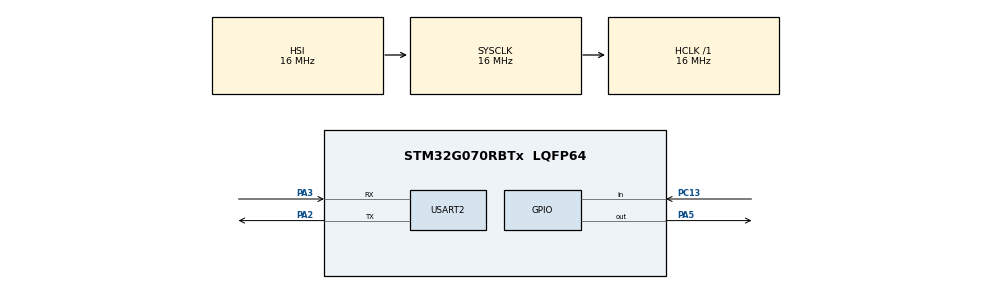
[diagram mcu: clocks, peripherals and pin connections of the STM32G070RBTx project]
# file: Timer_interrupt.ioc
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Mcu.Family=STM32G0
Mcu.Name=STM32G070RBTx
Mcu.Package=LQFP64
NVIC.TIM3_IRQn=true\:3\:0\:false\:false\:true\:false\:true\:true
NVIC.TimeBase=TIM3_IRQn
NVIC.TimeBaseIP=TIM3
PA13.Mode=Serial_Wire
PA13.Signal=SYS_SWDIO
PA14-BOOT0.Mode=Serial_Wire
PA14-BOOT0.Signal=SYS_SWCLK
PA2.Mode=Asynchronous
PA2.Signal=USART2_TX
PA3.Mode=Asynchronous
PA3.Signal=USART2_RX
PA5.Signal=GPIO_Output
PC13.Signal=GPIO_Input
PC14-OSC32_IN\ (PC14).Mode=LSE-External-Oscillator
PC14-OSC32_IN\ (PC14).Signal=RCC_OSC32_IN
PC15-OSC32_OUT\ (PC15).Mode=LSE-External-Oscillator
PC15-OSC32_OUT\ (PC15).Signal=RCC_OSC32_OUT
PF0-OSC_IN\ (PF0).Mode=HSE-External-Clock-Source
PF0-OSC_IN\ (PF0).Signal=RCC_OSC_IN
ProjectManager.HeapSize=0x200
ProjectManager.StackSize=0x400
ProjectManager.TargetToolchain=STM32CubeIDE
RCC.AHBFreq_Value=16000000
RCC.CortexFreq_Value=16000000
RCC.EXTERNAL_CLOCK_VALUE=12288000
RCC.HCLKFreq_Value=16000000
RCC.HSE_VALUE=8000000
RCC.HSI_VALUE=16000000
RCC.SYSCLKFreq_VALUE=16000000
RCC.VCOOutputFreq_Value=128000000
USART2.VirtualMode-Asynchronous=VM_ASYNC
VP_SYS_VS_tim3.Mode=TIM3
board=NUCLEO-G070RB

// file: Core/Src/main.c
/* USER CODE BEGIN Header */
/**
  ******************************************************************************
  * @file           : main.c
  * @brief          : Main program body
  ******************************************************************************
  * @attention
  *
  * Copyright (c) 2023 STMicroelectronics.
  * All rights reserved.
  *
  * This software is licensed under terms that can be found in the LICENSE file
  * in the root directory of this software component.
  * If no LICENSE file comes with this software, it is provided AS-IS.
  *
  ******************************************************************************
  */
/* USER CODE END Header */
#include "main.h"

/* USER CODE BEGIN Includes */
#include "FreeRTOS.h"
#include "task.h"
#include "timers.h"

/* USER CODE END Includes */

UART_HandleTypeDef huart2;

/* USER CODE BEGIN PV */
TimerHandle_t PTHandle, OTHandle;

TaskHandle_t uartHandle, ledHandle;

/* USER CODE END PV */

void SystemClock_Config(void);
static void MX_GPIO_Init(void);
static void MX_USART2_UART_Init(void);
/* USER CODE BEGIN PFP */
void uartTask(void *p);
void ledTask(void *p);

/* USER CODE END PFP */

/* USER CODE BEGIN 0 */
void uartTask(void *p)
{
	xTimerStart(PTHandle, 0);

	while(1)
	{
		uint8_t data[] = "Sending from UART\r\n";
		HAL_UART_Transmit(&huart2, data, sizeof(data), 1000);
		vTaskDelay(2000);
	}
}

void ledTask(void *p)
{
	while(1)
	{
		if ((HAL_GPIO_ReadPin(GPIOC, GPIO_PIN_13))== 0)
		{
			uint8_t data[] = "Switch is Pressed\r\n";
			HAL_UART_Transmit(&huart2, data, sizeof(data), 1000);
			HAL_GPIO_WritePin(GPIOA, GPIO_PIN_5, SET);
			xTimerStart(OTHandle, 0);
		}
		vTaskDelay(20);
	}
}

void TimerCallback (xTimerHandle xTimer)
{
		if (xTimer == PTHandle)
		{
			uint8_t data[] = "Sending from CallBack Task\r\n";
			HAL_UART_Transmit(&huart2, data, sizeof(data), 1000);
		}

		else if(xTimer == OTHandle)
		{
			HAL_GPIO_WritePin(GPIOA, GPIO_PIN_5, RESET);
		}
}

/* USER CODE END 0 */

int main(void)
{

  /* MCU Configuration--------------------------------------------------------*/

  /* Reset of all peripherals, Initializes the Flash interface and the Systick. */
  HAL_Init();

  /* Configure the system clock */
  SystemClock_Config();

  /* Initialize all configured peripherals */
  MX_GPIO_Init();
  MX_USART2_UART_Init();
  /* USER CODE BEGIN 2 */
  PTHandle = xTimerCreate("timer1", pdMS_TO_TICKS(500), pdTRUE, (void *)1, TimerCallback);
  OTHandle = xTimerCreate("timer2", pdMS_TO_TICKS(2000), pdFALSE, (void *)2, TimerCallback);

  xTaskCreate(uartTask, "uart", 128, NULL, 1, &uartHandle);
  xTaskCreate(ledTask, "led", 128, NULL, 1, &ledHandle);

  vTaskStartScheduler();

  /* USER CODE END 2 */

  /* Infinite loop */
  while (1)
  {

  }
}

void SystemClock_Config(void)
{
  RCC_OscInitTypeDef RCC_OscInitStruct = {0};
  RCC_ClkInitTypeDef RCC_ClkInitStruct = {0};

  /** Configure the main internal regulator output voltage
  */
  HAL_PWREx_ControlVoltageScaling(PWR_REGULATOR_VOLTAGE_SCALE1);

  /** Initializes the RCC Oscillators according to the specified parameters
  * in the RCC_OscInitTypeDef structure.
  */
  RCC_OscInitStruct.OscillatorType = RCC_OSCILLATORTYPE_HSI;
  RCC_OscInitStruct.HSIState = RCC_HSI_ON;
  RCC_OscInitStruct.HSIDiv = RCC_HSI_DIV1;
  RCC_OscInitStruct.HSICalibrationValue = RCC_HSICALIBRATION_DEFAULT;
  RCC_OscInitStruct.PLL.PLLState = RCC_PLL_NONE;
  if (HAL_RCC_OscConfig(&RCC_OscInitStruct) != HAL_OK)
  {
    Error_Handler();
  }

  /** Initializes the CPU, AHB and APB buses clocks
  */
  RCC_ClkInitStruct.ClockType = RCC_CLOCKTYPE_HCLK|RCC_CLOCKTYPE_SYSCLK
                              |RCC_CLOCKTYPE_PCLK1;
  RCC_ClkInitStruct.SYSCLKSource = RCC_SYSCLKSOURCE_HSI;
  RCC_ClkInitStruct.AHBCLKDivider = RCC_SYSCLK_DIV1;
  RCC_ClkInitStruct.APB1CLKDivider = RCC_HCLK_DIV1;

  if (HAL_RCC_ClockConfig(&RCC_ClkInitStruct, FLASH_LATENCY_0) != HAL_OK)
  {
    Error_Handler();
  }
}

static void MX_USART2_UART_Init(void)
{

  huart2.Instance = USART2;
  huart2.Init.BaudRate = 115200;
  huart2.Init.WordLength = UART_WORDLENGTH_8B;
  huart2.Init.StopBits = UART_STOPBITS_1;
  huart2.Init.Parity = UART_PARITY_NONE;
  huart2.Init.Mode = UART_MODE_TX_RX;
  huart2.Init.HwFlowCtl = UART_HWCONTROL_NONE;
  huart2.Init.OverSampling = UART_OVERSAMPLING_16;
  huart2.Init.OneBitSampling = UART_ONE_BIT_SAMPLE_DISABLE;
  huart2.Init.ClockPrescaler = UART_PRESCALER_DIV1;
  huart2.AdvancedInit.AdvFeatureInit = UART_ADVFEATURE_NO_INIT;
  if (HAL_UART_Init(&huart2) != HAL_OK)
  {
    Error_Handler();
  }
  if (HAL_UARTEx_SetTxFifoThreshold(&huart2, UART_TXFIFO_THRESHOLD_1_8) != HAL_OK)
  {
    Error_Handler();
  }
  if (HAL_UARTEx_SetRxFifoThreshold(&huart2, UART_RXFIFO_THRESHOLD_1_8) != HAL_OK)
  {
    Error_Handler();
  }
  if (HAL_UARTEx_DisableFifoMode(&huart2) != HAL_OK)
  {
    Error_Handler();
  }

}

static void MX_GPIO_Init(void)
{
  GPIO_InitTypeDef GPIO_InitStruct = {0};

  /* GPIO Ports Clock Enable */
  __HAL_RCC_GPIOC_CLK_ENABLE();
  __HAL_RCC_GPIOF_CLK_ENABLE();
  __HAL_RCC_GPIOA_CLK_ENABLE();

  /*Configure GPIO pin Output Level */
  HAL_GPIO_WritePin(GPIOA, GPIO_PIN_5, GPIO_PIN_RESET);

  /*Configure GPIO pin : PC13 */
  GPIO_InitStruct.Pin = GPIO_PIN_13;
  GPIO_InitStruct.Mode = GPIO_MODE_INPUT;
  GPIO_InitStruct.Pull = GPIO_NOPULL;
  HAL_GPIO_Init(GPIOC, &GPIO_InitStruct);

  /*Configure GPIO pin : PA5 */
  GPIO_InitStruct.Pin = GPIO_PIN_5;
  GPIO_InitStruct.Mode = GPIO_MODE_OUTPUT_PP;
  GPIO_InitStruct.Pull = GPIO_NOPULL;
  GPIO_InitStruct.Speed = GPIO_SPEED_FREQ_LOW;
  HAL_GPIO_Init(GPIOA, &GPIO_InitStruct);

}

void HAL_TIM_PeriodElapsedCallback(TIM_HandleTypeDef *htim)
{
  if (htim->Instance == TIM3) {
    HAL_IncTick();
  }
}

void Error_Handler(void)
{
  __disable_irq();
  while (1)
  {
  }
}
